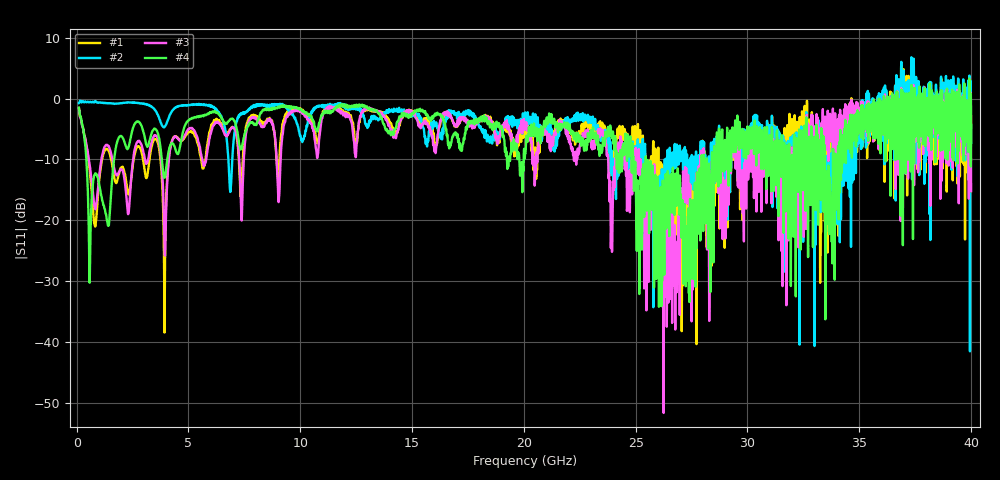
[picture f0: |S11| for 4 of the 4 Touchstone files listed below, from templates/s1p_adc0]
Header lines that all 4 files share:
# Hz S DB R 50
! freq  S11(dB)  S11(deg)
Fixed: ADC = 0
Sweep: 100 MHz to 40 GHz
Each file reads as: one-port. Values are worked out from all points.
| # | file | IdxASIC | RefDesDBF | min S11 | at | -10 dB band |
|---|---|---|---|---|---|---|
| 1 | ADC0_IdxASIC4_RefDesDBF208.s1p | 4 | 208 | -40.4 dB | 27.72 GHz | 1.863 GHz wide |
| 2 | ADC0_IdxASIC7_RefDesDBF213.s1p | 7 | 213 | -41.6 dB | 39.95 GHz | 867.5 MHz wide |
| 3 | ADC0_IdxASIC10_RefDesDBF220.s1p | 10 | 220 | -51.7 dB | 26.25 GHz | 2.671 GHz wide |
| 4 | ADC0_IdxASIC13_RefDesDBF225.s1p | 13 | 225 | -36.3 dB | 33.48 GHz | 2.492 GHz wide |
